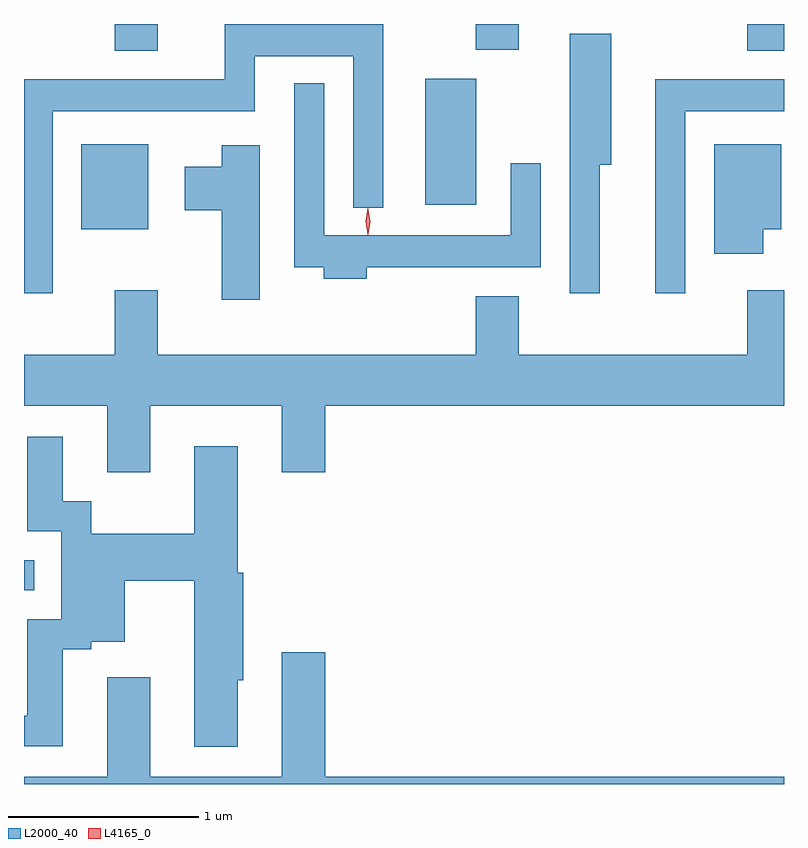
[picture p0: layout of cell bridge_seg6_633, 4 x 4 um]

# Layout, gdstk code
import gdstk
lib = gdstk.Library(unit=1e-6, precision=1e-09)
def R(c, l, rs):  # rectangles x0, y0, x1, y1
    for r in rs: c.add(gdstk.rectangle(r[:2], r[2:], *l))
def P(c, l, *ps):  # polygons
    for p in ps: c.add(gdstk.Polygon(p, *l))
L2000_40 = (2000, 40)
L4165_0 = (4165, 0)

bridge_seg6_633 = lib.new_cell('bridge_seg6_633')
R(bridge_seg6_633, L2000_40, [(306.014,1648.966,306.068,1649.124), (306.316,1650.866,306.669,1651.314), (308.126,1650.996,308.394,1651.659), (306.491,1651.806,306.719,1651.946), (309.821,1651.806,310.014,1651.946), (308.391,1651.811,308.619,1651.946)])
P(bridge_seg6_633, L2000_40, [(306.164,1651.486),(307.229,1651.486),(307.229,1651.776),(307.746,1651.776),(307.746,1650.978),(307.904,1650.978),(307.904,1651.944),(307.071,1651.944),(307.071,1651.654),(306.014,1651.654),(306.014,1650.528),(306.164,1650.528)],
  [(309.044,1651.206),(309.104,1651.206),(309.104,1651.894),(308.886,1651.894),(308.886,1650.528),(309.044,1650.528)],
  [(309.494,1651.486),(310.014,1651.486),(310.014,1651.654),(309.336,1651.654),(309.336,1650.528),(309.494,1650.528)],
  [(307.819,1650.666),(308.734,1650.666),(308.734,1651.213),(308.576,1651.213),(308.576,1650.834),(307.594,1650.834),(307.594,1651.633),(307.436,1651.633),(307.436,1650.666),(307.591,1650.666),(307.591,1650.606),(307.819,1650.606)],
  [(309.904,1650.866),(309.999,1650.866),(309.999,1651.314),(309.646,1651.314),(309.646,1650.736),(309.904,1650.736)],
  [(307.254,1651.309),(307.056,1651.309),(307.056,1651.194),(306.861,1651.194),(306.861,1650.966),(307.056,1650.966),(307.056,1650.496),(307.254,1650.496)],
  [(306.679,1649.936),(307.371,1649.936),(307.371,1649.586),(307.599,1649.586),(307.599,1649.936),(310.014,1649.936),(310.014,1650.544),(309.821,1650.544),(309.821,1650.204),(308.619,1650.204),(308.619,1650.514),(308.391,1650.514),(308.391,1650.204),(306.719,1650.204),(306.719,1650.544),(306.491,1650.544),(306.491,1650.204),(306.014,1650.204),(306.014,1649.936),(306.451,1649.936),(306.451,1649.586),(306.679,1649.586)],
  [(307.139,1648.491),(307.169,1648.491),(307.169,1649.059),(307.139,1649.059),(307.139,1649.724),(306.911,1649.724),(306.911,1649.264),(306.369,1649.264),(306.369,1649.434),(306.219,1649.434),(306.219,1649.774),(306.031,1649.774),(306.031,1649.276),(306.211,1649.276),(306.211,1648.814),(306.031,1648.814),(306.031,1648.304),(306.014,1648.304),(306.014,1648.146),(306.219,1648.146),(306.219,1648.656),(306.369,1648.656),(306.369,1648.696),(306.544,1648.696),(306.544,1649.016),(306.911,1649.016),(306.911,1648.141),(307.139,1648.141)],
  [(310.014,1647.984),(307.599,1647.984),(307.599,1648.639),(307.371,1648.639),(307.371,1647.984),(306.679,1647.984),(306.679,1648.509),(306.451,1648.509),(306.451,1647.984),(306.014,1647.984),(306.014,1647.946),(310.014,1647.946)])
P(bridge_seg6_633, L4165_0, [(307.823,1650.837),(307.822,1650.838),(307.813,1650.907),(307.822,1650.976),(307.823,1650.976),(307.823,1650.976),(307.833,1650.907),(307.823,1650.838)],
  [(307.826,1650.839),(307.826,1650.84),(307.816,1650.906),(307.825,1650.972),(307.826,1650.973),(307.826,1650.972),(307.836,1650.906),(307.826,1650.84)])

lib.write_gds('bridge_seg6_633.gds')
